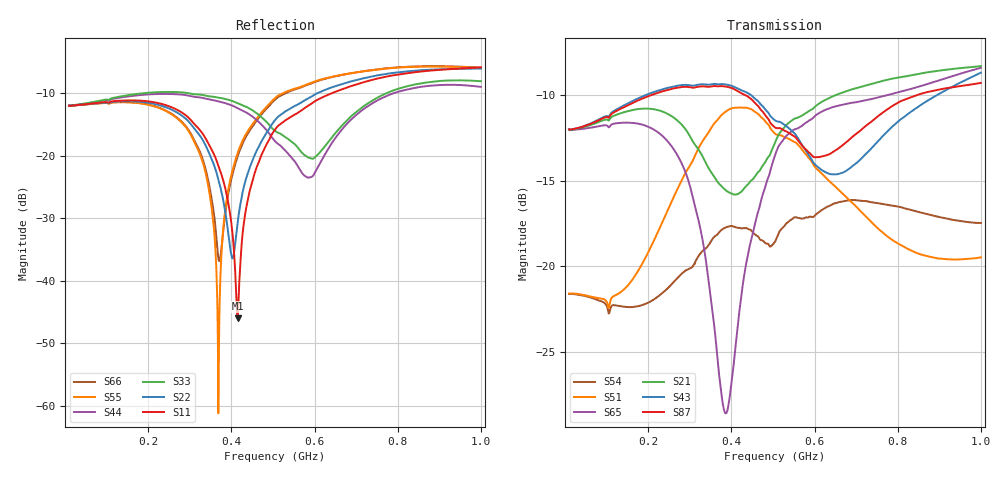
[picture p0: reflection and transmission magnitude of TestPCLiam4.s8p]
!Agilent Technologies,M9370A,MY54322275,A.02.50.04
!Agilent M9370A: A.02.50.04
!Date: Tuesday, March 20, 2018 18:25:19
!Correction: S11(Full 16 Port(1,2,3,4,5,6,7,8,9,10,11,12,13,14,15,16))
!S12(Full 16 Port(1,2,3,4,5,6,7,8,9,10,11,12,13,14,15,16))
!S13(Full 16 Port(1,2,3,4,5,6,7,8,9,10,11,12,13,14,15,16))
!S14(Full 16 Port(1,2,3,4,5,6,7,8,9,10,11,12,13,14,15,16))
!S15(Full 16 Port(1,2,3,4,5,6,7,8,9,10,11,12,13,14,15,16))
!S16(Full 16 Port(1,2,3,4,5,6,7,8,9,10,11,12,13,14,15,16))
!S17(Full 16 Port(1,2,3,4,5,6,7,8,9,10,11,12,13,14,15,16))
!S18(Full 16 Port(1,2,3,4,5,6,7,8,9,10,11,12,13,14,15,16))
!S21(Full 16 Port(1,2,3,4,5,6,7,8,9,10,11,12,13,14,15,16))
!S22(Full 16 Port(1,2,3,4,5,6,7,8,9,10,11,12,13,14,15,16))
!S23(Full 16 Port(1,2,3,4,5,6,7,8,9,10,11,12,13,14,15,16))
!S24(Full 16 Port(1,2,3,4,5,6,7,8,9,10,11,12,13,14,15,16))
!S25(Full 16 Port(1,2,3,4,5,6,7,8,9,10,11,12,13,14,15,16))
!S26(Full 16 Port(1,2,3,4,5,6,7,8,9,10,11,12,13,14,15,16))
!S27(Full 16 Port(1,2,3,4,5,6,7,8,9,10,11,12,13,14,15,16))
!S28(Full 16 Port(1,2,3,4,5,6,7,8,9,10,11,12,13,14,15,16))
!S31(Full 16 Port(1,2,3,4,5,6,7,8,9,10,11,12,13,14,15,16))
!S32(Full 16 Port(1,2,3,4,5,6,7,8,9,10,11,12,13,14,15,16))
!S33(Full 16 Port(1,2,3,4,5,6,7,8,9,10,11,12,13,14,15,16))
!S34(Full 16 Port(1,2,3,4,5,6,7,8,9,10,11,12,13,14,15,16))
!S35(Full 16 Port(1,2,3,4,5,6,7,8,9,10,11,12,13,14,15,16))
!S36(Full 16 Port(1,2,3,4,5,6,7,8,9,10,11,12,13,14,15,16))
!S37(Full 16 Port(1,2,3,4,5,6,7,8,9,10,11,12,13,14,15,16))
!S38(Full 16 Port(1,2,3,4,5,6,7,8,9,10,11,12,13,14,15,16))
!S41(Full 16 Port(1,2,3,4,5,6,7,8,9,10,11,12,13,14,15,16))
!S42(Full 16 Port(1,2,3,4,5,6,7,8,9,10,11,12,13,14,15,16))
!S43(Full 16 Port(1,2,3,4,5,6,7,8,9,10,11,12,13,14,15,16))
!S44(Full 16 Port(1,2,3,4,5,6,7,8,9,10,11,12,13,14,15,16))
!S45(Full 16 Port(1,2,3,4,5,6,7,8,9,10,11,12,13,14,15,16))
!S46(Full 16 Port(1,2,3,4,5,6,7,8,9,10,11,12,13,14,15,16))
!S47(Full 16 Port(1,2,3,4,5,6,7,8,9,10,11,12,13,14,15,16))
!S48(Full 16 Port(1,2,3,4,5,6,7,8,9,10,11,12,13,14,15,16))
!S51(Full 16 Port(1,2,3,4,5,6,7,8,9,10,11,12,13,14,15,16))
!S52(Full 16 Port(1,2,3,4,5,6,7,8,9,10,11,12,13,14,15,16))
!S53(Full 16 Port(1,2,3,4,5,6,7,8,9,10,11,12,13,14,15,16))
!S54(Full 16 Port(1,2,3,4,5,6,7,8,9,10,11,12,13,14,15,16))
!S55(Full 16 Port(1,2,3,4,5,6,7,8,9,10,11,12,13,14,15,16))
!S56(Full 16 Port(1,2,3,4,5,6,7,8,9,10,11,12,13,14,15,16))
!S57(Full 16 Port(1,2,3,4,5,6,7,8,9,10,11,12,13,14,15,16))
!S58(Full 16 Port(1,2,3,4,5,6,7,8,9,10,11,12,13,14,15,16))
!S61(Full 16 Port(1,2,3,4,5,6,7,8,9,10,11,12,13,14,15,16))
!S62(Full 16 Port(1,2,3,4,5,6,7,8,9,10,11,12,13,14,15,16))
!S63(Full 16 Port(1,2,3,4,5,6,7,8,9,10,11,12,13,14,15,16))
!S64(Full 16 Port(1,2,3,4,5,6,7,8,9,10,11,12,13,14,15,16))
!S65(Full 16 Port(1,2,3,4,5,6,7,8,9,10,11,12,13,14,15,16))
!S66(Full 16 Port(1,2,3,4,5,6,7,8,9,10,11,12,13,14,15,16))
!S67(Full 16 Port(1,2,3,4,5,6,7,8,9,10,11,12,13,14,15,16))
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# Hz S  RI  R 50
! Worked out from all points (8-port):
!   1000 points, 10 MHz to 1 GHz, reference 50 ohm
!   strongest paths, dB at 10 MHz, 257.7 MHz, 505.5 MHz, 753.2 MHz, 1 GHz:
!     S87: -12.0, -9.6, -11.9, -11.2, -9.3
!     S43: -12.0, -9.5, -11.5, -12.7, -8.7
!     S21: -12.0, -11.3, -12.8, -9.2, -8.3
!     S65: -12.0, -13.0, -13.5, -10.1, -8.4
!     S51: -21.6, -16.1, -12.3, -17.8, -19.5
!     S54: -21.6, -21.0, -18.5, -16.3, -17.5
!   lowest |S11| = -46.0 dB at 415.3 MHz (marker M1), VSWR 1.01, Z = 50.4 + j0.255 ohm
!   |S11| at or under -10 dB: start of sweep to 639.7 MHz
